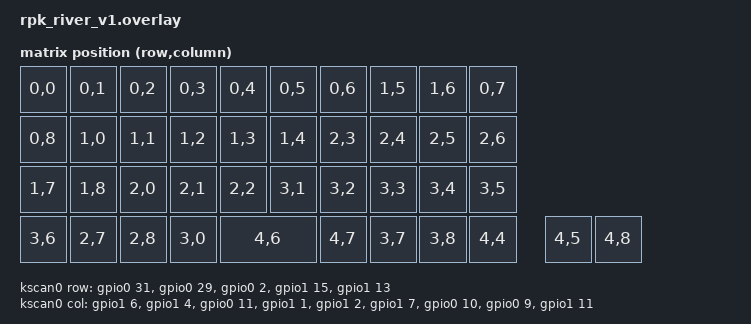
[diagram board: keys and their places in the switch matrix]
#include <dt-bindings/zmk/matrix_transform.h>
#include "rpk_river_v1-layouts.dtsi"
#include <input/processors.dtsi>

&pinctrl {
    spi0_default: spi0_default {
        group1 {
            psels = <NRF_PSEL(SPIM_SCK, 0, 22)>,
                <NRF_PSEL(SPIM_MOSI, 0, 24)>,
                <NRF_PSEL(SPIM_MISO, 0, 24)>;
        };
    };

    spi0_sleep: spi0_sleep {
        group1 {
            psels = <NRF_PSEL(SPIM_SCK, 0, 22)>,
                <NRF_PSEL(SPIM_MOSI, 0, 24)>,
                <NRF_PSEL(SPIM_MISO, 0, 24)>;
            low-power-enable;
        };
    };
};

#include <zephyr/dt-bindings/input/input-event-codes.h>

&spi0 {
    status = "okay";
    compatible = "nordic,nrf-spim";
    pinctrl-0 = <&spi0_default>;
    pinctrl-1 = <&spi0_sleep>;
    pinctrl-names = "default", "sleep";
    cs-gpios = <&gpio0 20 GPIO_ACTIVE_LOW>;

    trackball: trackball@0 {
        status = "okay";
        compatible = "pixart,pmw3610-alt";
        reg = <0>;
        spi-max-frequency = <2000000>;
        irq-gpios = <&gpio0 17 (GPIO_ACTIVE_LOW | GPIO_PULL_UP)>;
        cpi = <600>;
        // swap-xy; /* optional */
        // invert-x; /* optional */
        // invert-y; /* optional */
        evt-type = <INPUT_EV_REL>;
        x-input-code = <INPUT_REL_X>;
        y-input-code = <INPUT_REL_Y>;

        force-awake;
        /* keep the sensor awake while ZMK activity state is ACTIVE,
           fallback to normal downshift mode after ZMK goes into IDLE / SLEEP mode.
           thus, the sensor would be a `wakeup-source` */

        force-awake-4ms-mode;
        /* while force-awake is acitvated, enable this mode to force sampling per 
           4ms, where the default sampling rate is 8ms. */
        /* NOTE: apply this mode if you need 250Hz with direct USB connection. */
    };
};


/ {
    trackball_listener {
        compatible = "zmk,input-listener";
        device = <&trackball>;
        
        scroller {
        layers = <4>;
        input-processors = <&zip_xy_to_scroll_mapper>;
        };
    };

    vcc_pwr {
        compatible = "zmk,ext-power-generic";
        control-gpios = <&gpio0 13 GPIO_ACTIVE_HIGH>;
        init-delay-ms = <500>;
    };

    chosen {
        zmk,kscan = &kscan0;
        zmk,physical-layout = &physical_layout_0;
    };

    physical_layout_0: physical_layout_0 {
        compatible = "zmk,physical-layout";
        display-name = "LAYOUT";

        kscan = <&kscan0>;
        transform = <&transform>;

        keys  //                     w   h    x    y     rot    rx    ry
            = <&key_physical_attrs 100 100    0    0       0     0     0>
            , <&key_physical_attrs 100 100  100    0       0     0     0>
            , <&key_physical_attrs 100 100  200    0       0     0     0>
            , <&key_physical_attrs 100 100  300    0       0     0     0>
            , <&key_physical_attrs 100 100  400    0       0     0     0>
            , <&key_physical_attrs 100 100  500    0       0     0     0>
            , <&key_physical_attrs 100 100  600    0       0     0     0>
            , <&key_physical_attrs 100 100  800    0       0     0     0>
            , <&key_physical_attrs 100 100  900    0       0     0     0>
            , <&key_physical_attrs 100 100    0  100       0     0     0>
            , <&key_physical_attrs 100 100  100  100       0     0     0>
            , <&key_physical_attrs 100 100  200  100       0     0     0>
            , <&key_physical_attrs 100 100  300  100       0     0     0>
            , <&key_physical_attrs 100 100  400  100       0     0     0>
            , <&key_physical_attrs 100 100  500  100       0     0     0>
            , <&key_physical_attrs 100 100  700    0       0     0     0>
            , <&key_physical_attrs 100 100  800  100       0     0     0>
            , <&key_physical_attrs 100 100  900  100       0     0     0>
            , <&key_physical_attrs 100 100    0  200       0     0     0>
            , <&key_physical_attrs 100 100  100  200       0     0     0>
            , <&key_physical_attrs 100 100  200  200       0     0     0>
            , <&key_physical_attrs 100 100  300  200       0     0     0>
            , <&key_physical_attrs 100 100  400  200       0     0     0>
            , <&key_physical_attrs 100 100  600  100       0     0     0>
            , <&key_physical_attrs 100 100  700  100       0     0     0>
            , <&key_physical_attrs 100 100  800  200       0     0     0>
            , <&key_physical_attrs 100 100  900  200       0     0     0>
            , <&key_physical_attrs 100 100    0  300       0     0     0>
            , <&key_physical_attrs 100 100  100  300       0     0     0>
            , <&key_physical_attrs 100 100  200  300       0     0     0>
            , <&key_physical_attrs 100 100  300  300       0     0     0>
            , <&key_physical_attrs 100 100  500  200       0     0     0>
            , <&key_physical_attrs 100 100  600  200       0     0     0>
            , <&key_physical_attrs 100 100  700  200       0     0     0>
            , <&key_physical_attrs 100 100  900  300       0     0     0>
            , <&key_physical_attrs 100 100 1050  300       0     0     0>
            , <&key_physical_attrs 200 100  400  300       0     0     0>
            , <&key_physical_attrs 100 100  600  300       0     0     0>
            , <&key_physical_attrs 100 100  700  300       0     0     0>
            , <&key_physical_attrs 100 100  800  300       0     0     0>
            , <&key_physical_attrs 100 100 1150  300       0     0     0>
            ;
    };

    kscan0: kscan_0 {
        compatible = "zmk,kscan-gpio-matrix";
        label = "default_kscan";
        diode-direction = "col2row";

        col-gpios
            = <&gpio1 6 GPIO_ACTIVE_HIGH>,   //0
              <&gpio1 4 GPIO_ACTIVE_HIGH>,   //1
              <&gpio0 11 GPIO_ACTIVE_HIGH>,  //2
              <&gpio1 1 GPIO_ACTIVE_HIGH>,   //3
              <&gpio1 2 GPIO_ACTIVE_HIGH>,   //4
              <&gpio1 7 GPIO_ACTIVE_HIGH>,   //5
              <&gpio0 10 GPIO_ACTIVE_HIGH>,  //6
              <&gpio0 9 GPIO_ACTIVE_HIGH>,   //7
              <&gpio1 11 GPIO_ACTIVE_HIGH>;  //8

        row-gpios
            = <&gpio0 31 (GPIO_ACTIVE_HIGH | GPIO_PULL_DOWN)>, //0
              <&gpio0 29 (GPIO_ACTIVE_HIGH | GPIO_PULL_DOWN)>, //1
              <&gpio0 2 (GPIO_ACTIVE_HIGH | GPIO_PULL_DOWN)>,  //2
              <&gpio1 15 (GPIO_ACTIVE_HIGH | GPIO_PULL_DOWN)>, //3
              <&gpio1 13 (GPIO_ACTIVE_HIGH | GPIO_PULL_DOWN)>; //4
    };

    transform: matrix_transform {
        compatible = "zmk,matrix-transform";
        rows = <5>;
        columns = <9>;
        map = <
        //┌────────┬────────┬────────┬────────┬────────┬────────┬────────┬────────┬────────┬────────┐
        //│        │        │        │        │        │        │        │        │        │        │
           RC(0, 0) RC(0, 1) RC(0, 2) RC(0, 3) RC(0, 4) RC(0, 5) RC(0, 6) RC(1, 6) RC(0, 7) RC(0, 8)
        //│        │        │        │        │        │        │        │        │        │        │
        //├────────┼────────┼────────┼────────┼────────┼────────┼────────┼────────┼────────┼────────┤
        //│        │        │        │        │        │        │        │        │        │        │ 
           RC(1, 0) RC(1, 1) RC(1, 2) RC(1, 3) RC(1, 4) RC(1, 5) RC(2, 5) RC(2, 6) RC(1, 7) RC(1, 8)
        //│        │        │        │        │        │        │        │        │        │        │
        //├────────┼────────┼────────┼────────┼────────┼────────┼────────┼────────┼────────┼────────┤
        //│        │        │        │        │        │        │        │        │        │        │ 
           RC(2, 0) RC(2, 1) RC(2, 2) RC(2, 3) RC(2, 4) RC(3, 4) RC(3, 5) RC(3, 6) RC(2, 7) RC(2, 8)
        //│        │        │        │        │        │        │        │        │        │        │
        //├────────┼────────┼────────┼────────┼────────┴────────┼────────┼────────┼────────┼────────┤      ┌────────┬────────┐
        //│        │        │        │        │                 │        │        │        │        │      │        │        │
           RC(3, 0) RC(3, 1) RC(3, 2) RC(3, 3)      RC(4, 4)     RC(4, 5) RC(4, 6) RC(4, 7) RC(3, 7)        RC(3, 8) RC(4, 8)
        //│        │        │        │        │                 │        │        │        │        │      │        │        │
        //└────────┴────────┴────────┴────────┴─────────────────┴────────┴────────┴────────┴────────┘      └────────┴────────┘
        >;
    };
};
